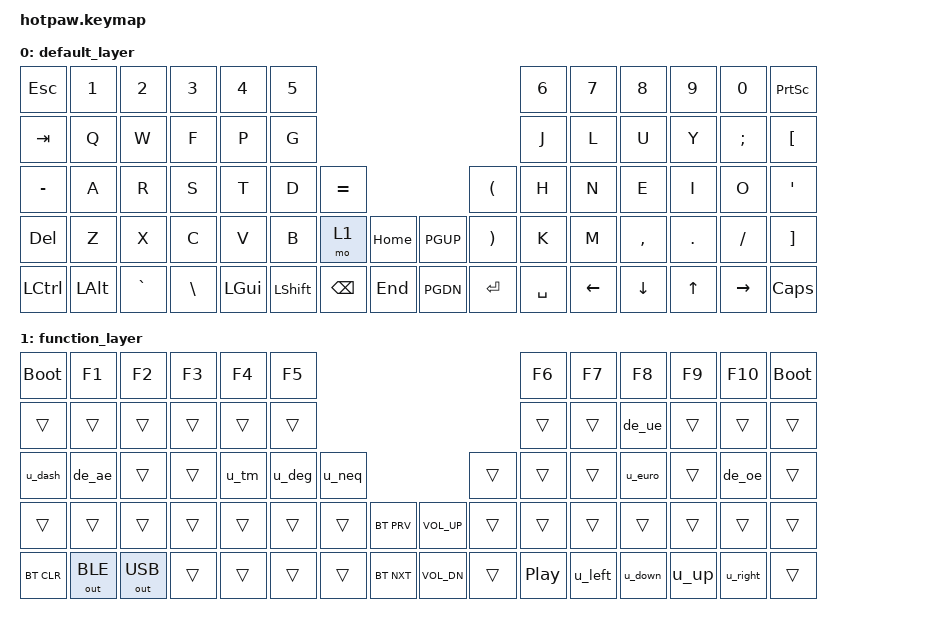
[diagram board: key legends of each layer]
#include <behaviors.dtsi>
#include <dt-bindings/zmk/bt.h>
#include <dt-bindings/zmk/keys.h>
#include <dt-bindings/zmk/outputs.h>

#define HOST_OS 1  // set to 1 for Linux, default is 0 (Windows)
#include "../../../../zmk-nodefree-config/helper.h"
#include "../../../../zmk-nodefree-config/international_chars/german.dtsi"

// UNICODE SYMBOLS
ZMK_UNICODE_SINGLE(u_euro, N2, N0, A, C)  // €
ZMK_UNICODE_SINGLE(u_tm, N2, N1, N2, N2)  // ™
ZMK_UNICODE_SINGLE(u_left, N2, N1, N9, N0)  // ←
ZMK_UNICODE_SINGLE(u_down, N2, N1, N9, N3)  // ↓
ZMK_UNICODE_SINGLE(u_up, N2, N1, N9, N1)  // ↑
ZMK_UNICODE_SINGLE(u_right, N2, N1, N9, N2)  // →
ZMK_UNICODE_SINGLE(u_deg, N0, N0, B, N0)  // °
ZMK_UNICODE_SINGLE(u_dash, N2, N0, N1, N4)  // —
ZMK_UNICODE_PAIR(u_neq, N2, N2, N6, N0, N0, N0, B, N1)  // ≠ and ±

/ {
    keymap {
        compatible = "zmk,keymap";

        default_layer {
// ┌────┬────┬────┬────┬────┬────┐                          ┌────┬────┬────┬────┬────┬────┐
// │ ESC│  1 │  2 │  3 │  4 │  5 │                          │  6 │  7 │  8 │  9 │  0 │PrSc│
// ├────┼────┼────┼────┼────┼────┤                          ├────┼────┼────┼────┼────┼────┤
// │ TAB│  Q │  W │  F │  P │  G │                          │  J │  L │  U │  Y │  ; │  [ │
// ├────┼────┼────┼────┼────┼────┼────┐                ┌────┼────┼────┼────┼────┼────┼────┤
// │  - │  A │  R │  S │  T │  D │ =+ │                │  ( │  H │  N │  E │  I │  O │  ' │
// ├────┼────┼────┼────┼────┼────┼────┤                ├────┼────┼────┼────┼────┼────┼────┤
// │ DEL│  Z │  X │  C │  V │  B │ FN │                │  ) │  K │  M │  , │  . │  / │  ] │
// ├────┼────┼────┼────┼────┼────┴────┘                └────┴────┼────┼────┼────┼────┼────┤
// │CTRL│ ALT│ `~ │  \ │ OS │ ┌────┬────┬────┐  ┌────┬────┬────┐ │Left│Down│ Up │Rght│Caps│
// └────┴────┴────┴────┴────┘ │    │    │HOME│  │PGUP│    │    │ └────┴────┴────┴────┴────┘
//                            │SHFT│BKSP├────┤  ├────┤ENTR│ [] │
//                            │    │    │ END│  │PGDN│    │    │
//                            └────┴────┴────┘  └────┴────┴────┘
            bindings = <
    &kp ESC    &kp N1    &kp N2     &kp N3    &kp N4    &kp N5                                                  &kp N6     &kp N7    &kp N8    &kp N9    &kp N0    &kp PSCRN
    &kp TAB    &kp Q     &kp W      &kp F     &kp P     &kp G                                                   &kp J      &kp L     &kp U     &kp Y     &kp SEMI  &kp LBKT
    &kp MINUS  &kp A     &kp R      &kp S     &kp T     &kp D      &kp EQUAL                          &kp LPAR  &kp H      &kp N     &kp E     &kp I     &kp O     &kp SQT
    &kp DEL    &kp Z     &kp X      &kp C     &kp V     &kp B      &mo 1         &kp HOME   &kp PGUP  &kp RPAR  &kp K      &kp M     &kp COMMA &kp DOT   &kp FSLH  &kp RBKT
    &kp LCTRL  &kp LALT  &kp GRAVE  &kp BSLH  &kp LGUI  &kp LSHFT  &kp BSPC      &kp END    &kp PGDN  &kp RET   &kp SPACE  &kp LEFT  &kp DOWN  &kp UP    &kp RIGHT &kp CAPS
            >;
        };

        function_layer {
// ┌────┬────┬────┬────┬────┬────┐                          ┌────┬────┬────┬────┬────┬────┐
// │BOOT│ F1 │ F2 │ F3 │ F4 │ F5 │                          │ F6 │ F7 │ F8 │ F9 │ F10│BOOT│
// ├────┼────┼────┼────┼────┼────┤                          ├────┼────┼────┼────┼────┼────┤
// │    │    │    │    │    │    │                          │    │    │  ü │    │    │    │
// ├────┼────┼────┼────┼────┼────┼────┐                ┌────┼────┼────┼────┼────┼────┼────┤
// │  — │  ä │    │    │  ™ │  ° │ ≠/±│                │    │    │    │  € │    │  ö │    │
// ├────┼────┼────┼────┼────┼────┼────┤                ├────┼────┼────┼────┼────┼────┼────┤
// │    │    │    │    │    │    │****│                │    │    │    │    │    │    │    │
// ├────┼────┼────┼────┼────┼────┴────┘                └────┴────┼────┼────┼────┼────┼────┤
// │BtCl│OutB│OutU│    │    │ ┌────┬────┬────┐  ┌────┬────┬────┐ │  ← │  ↓ │  ↑ │  → │    │
// └────┴────┴────┴────┴────┘ │    │    │    │  │VlUp│    │    │ └────┴────┴────┴────┴────┘
//                            │    │    ├────┤  ├────┤    │PLAY│
//                            │    │    │    │  │VlDn│    │    │
//                            └────┴────┴────┘  └────┴────┴────┘
            bindings = <
    &bootloader &kp F1       &kp F2       &kp F3    &kp F4    &kp F5                                                 &kp F6    &kp F7    &kp F8    &kp F9    &kp F10   &bootloader
    &trans      &trans       &trans       &trans    &trans    &trans                                                 &trans    &trans    &de_ue    &trans    &trans    &trans
    &u_dash     &de_ae       &trans       &trans    &u_tm     &u_deg    &u_neq                             &trans    &trans    &trans    &u_euro   &trans    &de_oe    &trans
    &trans      &trans       &trans       &trans    &trans    &trans    &trans    &bt BT_PRV  &kp C_VOL_UP &trans    &trans    &trans    &trans    &trans    &trans    &trans
    &bt BT_CLR  &out OUT_BLE &out OUT_USB &trans    &trans    &trans    &trans    &bt BT_NXT  &kp C_VOL_DN &trans    &kp C_PP  &u_left   &u_down   &u_up     &u_right  &trans
            >;

        };
    };
};


// ┌────┬────┬────┬────┬────┬────┐                          ┌────┬────┬────┬────┬────┬────┐
// │    │    │    │    │    │    │                          │    │    │    │    │    │    │
// ├────┼────┼────┼────┼────┼────┤                          ├────┼────┼────┼────┼────┼────┤
// │    │    │    │    │    │    │                          │    │    │    │    │    │    │
// ├────┼────┼────┼────┼────┼────┼────┐                ┌────┼────┼────┼────┼────┼────┼────┤
// │    │    │    │    │    │    │    │                │    │    │    │    │    │    │    │
// ├────┼────┼────┼────┼────┼────┼────┤                ├────┼────┼────┼────┼────┼────┼────┤
// │    │    │    │    │    │    │    │                │    │    │    │    │    │    │    │
// ├────┼────┼────┼────┼────┼────┴────┘                └────┴────┼────┼────┼────┼────┼────┤
// │    │    │    │    │    │ ┌────┬────┬────┐  ┌────┬────┬────┐ │    │    │    │    │    │
// └────┴────┴────┴────┴────┘ │    │    │    │  │    │    │    │ └────┴────┴────┴────┴────┘
//                            │    │    ├────┤  ├────┤    │    │
//                            │    │    │    │  │    │    │    │
//                            └────┴────┴────┘  └────┴────┴────┘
